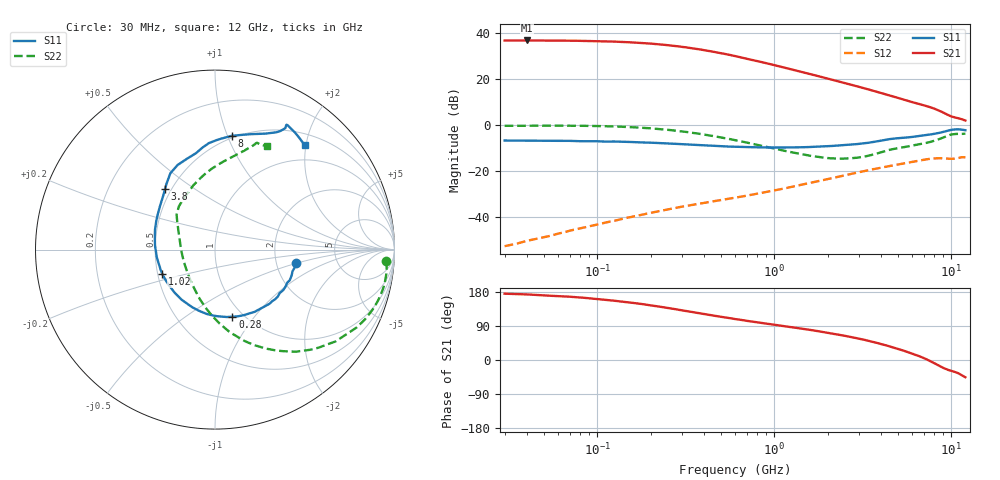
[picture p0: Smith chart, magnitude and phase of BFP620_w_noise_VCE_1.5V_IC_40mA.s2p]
! (c) 2015  Infineon Technologies AG, Munich
! Infineon Technologies  Discrete & RF Semiconductors
! BFP620
! VCE =  1.5 V,  IC =  40 mA
! Common Emitter S-Parameters:  Nov 2015
# GHz  S  MA  R  50
!  f  S11  S21  S12  S22
! GHz  MAG  ANG  MAG  ANG  MAG  ANG  MAG  ANG
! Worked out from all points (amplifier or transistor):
!   239 points, 30 MHz to 12 GHz, reference 50 ohm
!   highest |S21| = 36.8 dB at 40 MHz (marker M1)
!   |S21| within 3 dB of that: start of sweep to 317.1 MHz
!   unconditionally stable (mu >= 1): 2.219 GHz to end of sweep
!   at 300 MHz: K = 0.42, MSG = 34.8 dB, |S12| = -35.6 dB
!   at 1.88 GHz: K = 0.98, MSG = 22.4 dB, |S12| = -24.0 dB
!   at 12 GHz: K = 1.08, MAG = 6.3 dB, |S12| = -14.1 dB
!   lowest NFmin = 1.33 dB at 450 MHz
!   S11 on the Smith chart (normalised r, x): 30 MHz: 2.58, -0.50; 280 MHz: 0.89, -0.78; 1.02 GHz: 0.53, -0.16; 3.8 GHz: 0.46, +0.39; 8 GHz: 0.48, +1.03; 12 GHz: 0.70, +1.98
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0.03  0.458 -9.7  68.62 175.0  0.0023 94.3  0.9559 -3.8
0.04  0.4541 -13.1  68.9 173.1  0.003 91.2  0.9616 -6.0
0.05  0.4484 -15.6  68.6 170.2  0.0036 90.2  0.9642 -8.2
0.07  0.4502 -22.3  68.29 167.0  0.005 85.1  0.9623 -12.6
0.085  0.443 -26.2  67.4 164.0  0.0059 82.6  0.9553 -15.8
0.115  0.4354 -35.3  65.79 158.1  0.0077 79.4  0.9347 -21.9
0.145  0.4285 -43.4  63.51 153.0  0.0094 76.7  0.9064 -27.7
0.19  0.4128 -54.9  59.67 145.9  0.0117 73.0  0.8541 -35.5
0.24  0.3984 -66.8  55.29 138.7  0.014 70.1  0.7949 -43.4
0.28  0.3862 -75.5  51.83 133.7  0.0158 68.2  0.7473 -48.9
0.34  0.3721 -87.4  46.95 127.0  0.018 66.0  0.68 -56.3
0.4  0.3615 -97.4  42.56 121.3  0.0201 64.5  0.6192 -62.9
0.5  0.3449 -111.8  36.35 113.9  0.0232 62.9  0.5339 -72.2
0.6  0.3356 -123.5  31.52 108.1  0.0261 62.1  0.4669 -79.9
0.8  0.3253 -141.4  24.55 99.3  0.0318 61.3  0.3692 -92.5
1.02  0.323 -155.4  19.66 92.5  0.0381 60.5  0.301 -104.2
1.64  0.3327 178.2  12.44 78.5  0.056 57.1  0.2098 -133.3
2.4  0.3595 156.6  8.484 65.4  0.0773 50.5  0.1847 -167.5
3.8  0.4392 129.2  5.253 45.1  0.1129 36.0  0.2388 149.6
4.5  0.4928 120.3  4.346 35.6  0.1281 29.0  0.2889 137.8
8  0.6406 81.7  2.267 -8.5  0.1871 -8.2  0.4517 92.2
12  0.7669 49.2  1.244 -45.5  0.1971 -40.8  0.645 63.1
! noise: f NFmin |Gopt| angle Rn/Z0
0.45  1.33  0.22  -164  0.1
0.9  1.34  0.26  -152  0.1
1.9  1.35  0.29  -138  0.11
2.4  1.37  0.29  -136  0.12
3.5  1.41  0.36  -103  0.2
5.5  1.7  0.39  -84  0.26
10  2.02  0.64  -44  1.05
